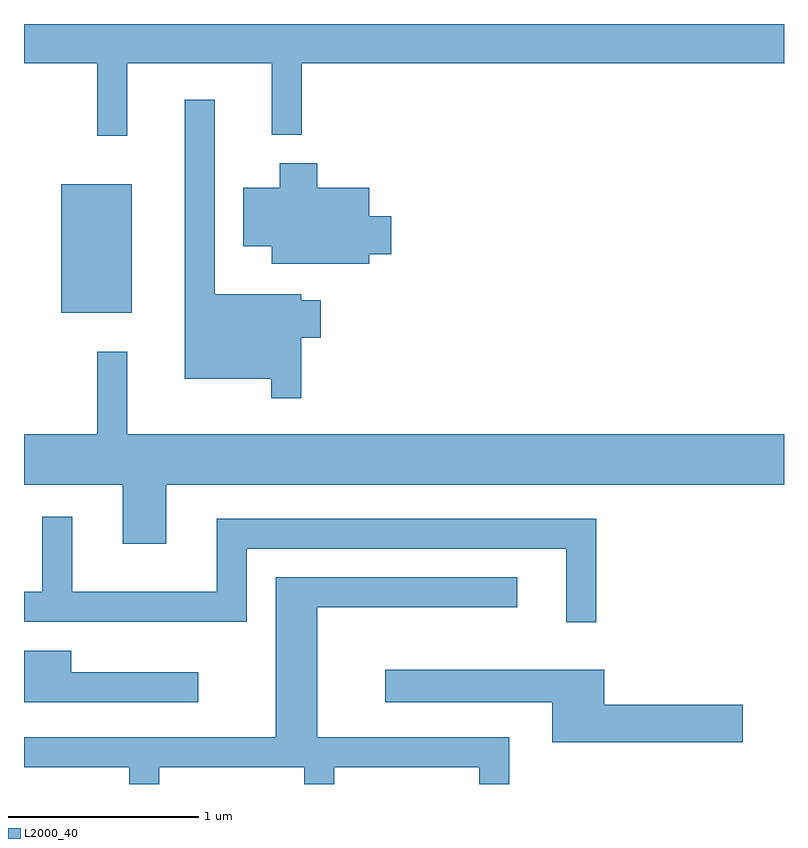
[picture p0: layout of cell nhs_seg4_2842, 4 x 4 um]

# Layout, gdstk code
import gdstk
lib = gdstk.Library(unit=1e-6, precision=1e-09)
def R(c, l, rs):  # rectangles x0, y0, x1, y1
    for r in rs: c.add(gdstk.rectangle(r[:2], r[2:], *l))
def P(c, l, *ps):  # polygons
    for p in ps: c.add(gdstk.Polygon(p, *l))
L2000_40 = (2000, 40)

nhs_seg4_2842 = lib.new_cell('nhs_seg4_2842')
R(nhs_seg4_2842, L2000_40, [(267.806,1364.461,268.179,1365.139)])
P(nhs_seg4_2842, L2000_40, [(268.154,1365.776),(268.916,1365.776),(268.916,1365.398),(269.074,1365.398),(269.074,1365.776),(271.611,1365.776),(271.611,1365.982),(267.611,1365.982),(267.611,1365.776),(267.996,1365.776),(267.996,1365.393),(268.154,1365.393)],
  [(269.069,1364.331),(269.174,1364.331),(269.174,1364.529),(269.069,1364.529),(269.069,1364.559),(268.614,1364.559),(268.614,1365.583),(268.456,1365.583),(268.456,1364.116),(268.911,1364.116),(268.911,1364.013),(269.069,1364.013)],
  [(269.429,1364.771),(269.544,1364.771),(269.544,1364.969),(269.429,1364.969),(269.429,1365.119),(269.154,1365.119),(269.154,1365.249),(268.956,1365.249),(268.956,1365.119),(268.766,1365.119),(268.766,1364.811),(268.916,1364.811),(268.916,1364.721),(269.429,1364.721)],
  [(268.359,1363.556),(271.611,1363.556),(271.611,1363.824),(268.154,1363.824),(268.154,1364.258),(267.996,1364.258),(267.996,1363.824),(267.611,1363.824),(267.611,1363.556),(268.131,1363.556),(268.131,1363.246),(268.359,1363.246)],
  [(270.624,1363.379),(268.626,1363.379),(268.626,1362.994),(267.864,1362.994),(267.864,1363.388),(267.706,1363.388),(267.706,1362.994),(267.611,1362.994),(267.611,1362.836),(268.784,1362.836),(268.784,1363.221),(270.466,1363.221),(270.466,1362.833),(270.624,1362.833)],
  [(268.324,1362.071),(269.086,1362.071),(269.086,1361.982),(269.244,1361.982),(269.244,1362.071),(270.006,1362.071),(270.006,1361.982),(270.164,1361.982),(270.164,1362.229),(269.154,1362.229),(269.154,1362.911),(270.208,1362.911),(270.208,1363.069),(268.936,1363.069),(268.936,1362.229),(267.611,1362.229),(267.611,1362.071),(268.166,1362.071),(268.166,1361.982),(268.324,1361.982)],
  [(268.528,1362.569),(267.859,1362.569),(267.859,1362.684),(267.611,1362.684),(267.611,1362.411),(268.528,1362.411)],
  [(271.394,1362.399),(270.664,1362.399),(270.664,1362.584),(269.511,1362.584),(269.511,1362.411),(270.391,1362.411),(270.391,1362.201),(271.394,1362.201)])

lib.write_gds('nhs_seg4_2842.gds')
